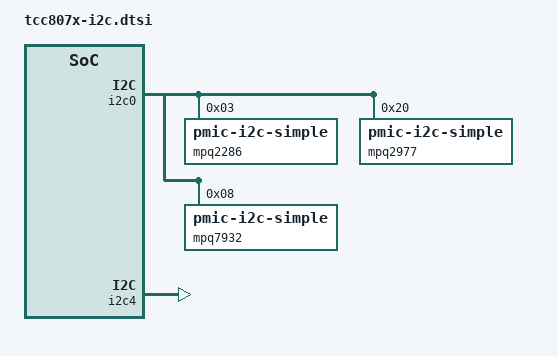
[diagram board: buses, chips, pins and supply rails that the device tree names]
// SPDX-License-Identifier: (GPL-2.0-or-later OR MIT)
/*
 * Copyright (C) 2023 Telechips Inc.
 */

/* PMIC I2C CH */
&i2c0 {
	pinctrl-names = "default";
	pinctrl-0 = <&i2c38_bus>;
	port-mux = <38>;
	status = "okay";

	mpq2286: mpq2286 {
		compatible = "pmic-i2c-simple";
		status = "okay";
		reg = <0x03>;
		/* default 750 mV */
		npu-mv = <850>;
	};

	mpq2977: mpq2977 {
		compatible = "pmic-i2c-simple";
		reg = <0x20>;
		/* default 950 mV */
		mc-cpu-mv = <950>;
	};

	mpq7932: mpq7932 {
		compatible = "pmic-i2c-simple";
		reg = <0x08>;
		/* defalut 950 mV*/
		sc-cpu-mv = <950>;
	};
};

/* DP SER, MIPI0_1 */
&i2c4 {
	pinctrl-names = "default";
	pinctrl-0 = <&i2c13_bus>;
	port-mux = <13>;
	status = "okay";
};

&pinctrl {
	/omit-if-no-ref/
	i2c10_bus: i2c10_bus {
		telechips,pins = "gpb-17", "gpb-18";
		telechips,pin-function = <8>;
		telechips,input-enable;
		telechips,no-pull;
	};

	/omit-if-no-ref/
	i2c11_bus: i2c11_bus {
		telechips,pins = "gpb-19", "gpb-20";
		telechips,pin-function = <8>;
		telechips,input-enable;
		telechips,no-pull;
	};

	/omit-if-no-ref/
	i2c12_bus: i2c12_bus {
		telechips,pins = "gpb-21", "gpb-22";
		telechips,pin-function = <8>;
		telechips,input-enable;
		telechips,no-pull;
	};

	/omit-if-no-ref/
	i2c13_bus: i2c13_bus {
		telechips,pins = "gpb-23", "gpb-24";
		telechips,pin-function = <8>;
		telechips,input-enable;
		telechips,no-pull;
	};

	/omit-if-no-ref/
	i2c29_bus: i2c29_bus {
		telechips,pins = "gpmb-4", "gpmb-5";
		telechips,pin-function = <8>;
		telechips,input-enable;
		telechips,no-pull;
	};

	/omit-if-no-ref/
	i2c34_bus: i2c34_bus {
		telechips,pins = "gpmb-30", "gpmb-31";
		telechips,pin-function = <8>;
		telechips,input-enable;
		telechips,no-pull;
	};

	/omit-if-no-ref/
	i2c35_bus: i2c35_bus {
		telechips,pins = "gpmc-4", "gpmc-5";
		telechips,pin-function = <8>;
		telechips,input-enable;
		telechips,no-pull;
	};

	/omit-if-no-ref/
	i2c36_bus: i2c36_bus {
		telechips,pins = "gpmc-10", "gpmc-11";
		telechips,pin-function = <8>;
		telechips,input-enable;
		telechips,no-pull;
	};

	/omit-if-no-ref/
	i2c37_bus: i2c37_bus {
		telechips,pins = "gpmc-16", "gpmc-17";
		telechips,pin-function = <8>;
		telechips,input-enable;
		telechips,no-pull;
	};

	/omit-if-no-ref/
	i2c38_bus: i2c38_bus {
		telechips,pins = "gpmc-22", "gpmc-23";
		telechips,pin-function = <8>;
		telechips,input-enable;
		telechips,no-pull;
	};
};
